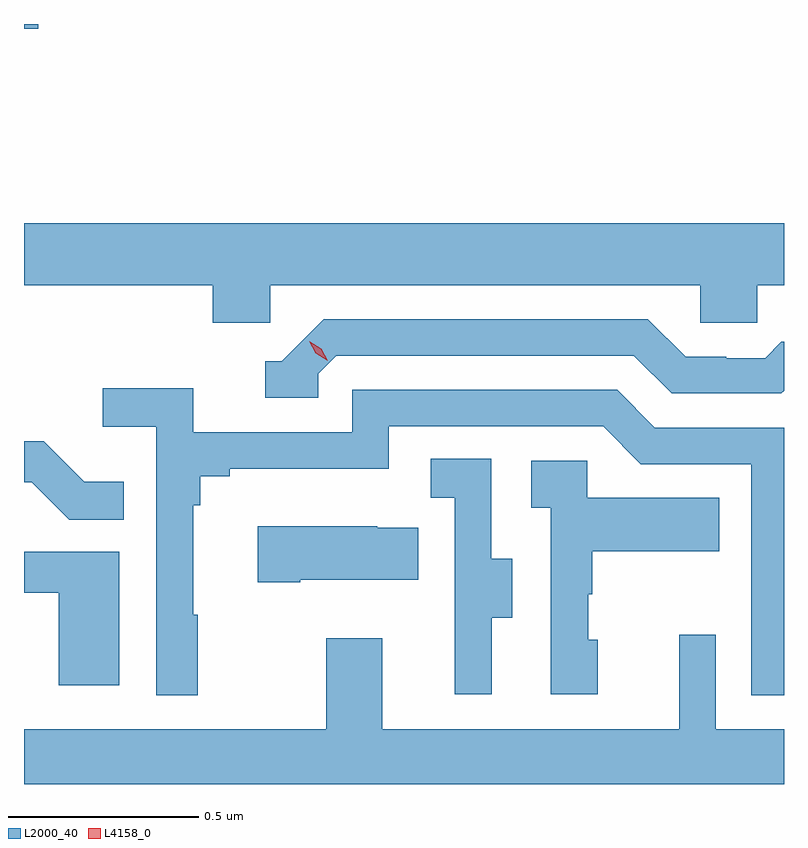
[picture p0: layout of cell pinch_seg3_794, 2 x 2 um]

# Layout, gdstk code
import gdstk
lib = gdstk.Library(unit=1e-6, precision=1e-09)
def R(c, l, rs):  # rectangles x0, y0, x1, y1
    for r in rs: c.add(gdstk.rectangle(r[:2], r[2:], *l))
def P(c, l, *ps):  # polygons
    for p in ps: c.add(gdstk.Polygon(p, *l))
L2000_40 = (2000, 40)
L4158_0 = (4158, 0)

pinch_seg3_794 = lib.new_cell('pinch_seg3_794')
R(pinch_seg3_794, L2000_40, [(825.258,717.575,825.295,717.588)])
P(pinch_seg3_794, L2000_40, [(825.906,716.9),(827.037,716.9),(827.037,716.802),(827.187,716.802),(827.187,716.9),(827.258,716.9),(827.258,717.064),(825.258,717.064),(825.258,716.9),(825.755,716.9),(825.755,716.802),(825.906,716.802)],
  [(826.032,716.667),(826.08,716.715),(826.863,716.715),(826.962,716.616),(827.251,716.616),(827.258,716.623),(827.258,716.752),(827.251,716.752),(827.209,716.709),(827.106,716.709),(827.106,716.712),(826.999,716.712),(826.9,716.811),(826.047,716.811),(825.936,716.7),(825.893,716.7),(825.893,716.604),(826.032,716.604)],
  [(825.715,716.033),(825.703,716.033),(825.703,716.321),(825.722,716.321),(825.722,716.398),(825.799,716.398),(825.799,716.417),(826.218,716.417),(826.218,716.529),(826.782,716.529),(826.881,716.43),(827.172,716.43),(827.172,715.821),(827.258,715.821),(827.258,716.526),(826.918,716.526),(826.819,716.625),(826.122,716.625),(826.122,716.514),(825.704,716.514),(825.704,716.63),(825.465,716.63),(825.465,716.528),(825.606,716.528),(825.606,715.821),(825.715,715.821)],
  [(825.521,716.383),(825.417,716.383),(825.31,716.49),(825.258,716.49),(825.258,716.382),(825.279,716.382),(825.377,716.284),(825.521,716.284)],
  [(826.489,716.026),(826.543,716.026),(826.543,716.181),(826.488,716.181),(826.488,716.444),(826.329,716.444),(826.329,716.341),(826.392,716.341),(826.392,716.037),(826.391,716.037),(826.391,715.824),(826.489,715.824)],
  [(826.768,715.968),(826.743,715.968),(826.743,716.087),(826.753,716.087),(826.753,716.201),(827.087,716.201),(827.087,716.341),(826.74,716.341),(826.74,716.439),(826.593,716.439),(826.593,716.315),(826.644,716.315),(826.644,715.824),(826.768,715.824)],
  [(825.985,716.126),(826.295,716.126),(826.295,716.263),(826.187,716.263),(826.187,716.266),(825.873,716.266),(825.873,716.119),(825.985,716.119)],
  [(825.508,716.199),(825.258,716.199),(825.258,716.091),(825.35,716.091),(825.35,715.848),(825.508,715.848)],
  [(827.258,715.732),(827.079,715.732),(827.079,715.981),(826.982,715.981),(826.982,715.732),(826.201,715.732),(826.201,715.972),(826.054,715.972),(826.054,715.732),(825.258,715.732),(825.258,715.588),(827.258,715.588)])
P(pinch_seg3_794, L4158_0, [(826.057,716.702),(826.026,716.721),(826.009,716.753),(826.009,716.753),(826.009,716.753),(826.04,716.734),(826.057,716.702),(826.057,716.702)])

lib.write_gds('pinch_seg3_794.gds')
